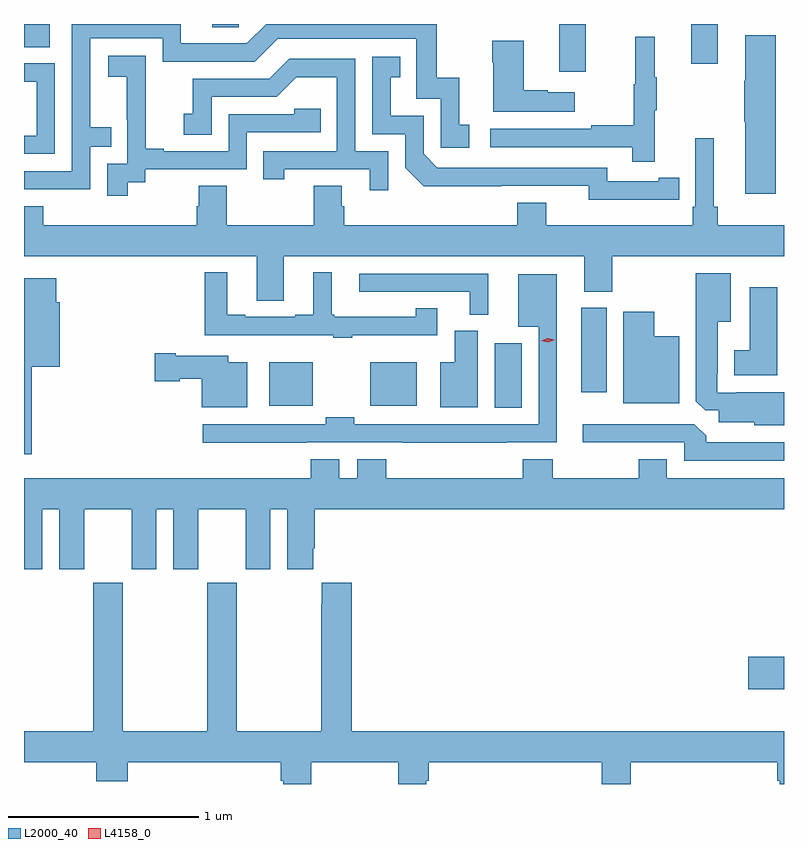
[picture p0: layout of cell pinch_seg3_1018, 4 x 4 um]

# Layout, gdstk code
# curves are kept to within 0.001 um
import gdstk
lib = gdstk.Library(unit=1e-6, precision=1e-09)
def R(c, l, rs):  # rectangles x0, y0, x1, y1
    for r in rs: c.add(gdstk.rectangle(r[:2], r[2:], *l))
def P(c, l, *ps):  # polygons
    for p in ps: c.add(gdstk.Polygon(p, *l))
L2000_40 = (2000, 40)
L4158_0 = (4158, 0)

pinch_seg3_1018 = lib.new_cell('pinch_seg3_1018')
R(pinch_seg3_1018, L2000_40, [(518.112,695.972,518.299,696.143), (516.776,697.453,516.919,697.795), (515.591,697.466,515.818,697.693), (516.122,697.466,516.367,697.693), (517.232,697.536,517.366,697.98), (517.115,699.222,517.255,699.474), (517.811,699.264,517.951,699.474), (514.299,699.352,514.435,699.474), (515.291,699.457,515.43,699.474)])
P(pinch_seg3_1018, L2000_40, [(514.647,698.829),(514.757,698.829),(514.757,698.93),(514.647,698.93),(514.647,699.399),(515.028,699.399),(515.028,699.276),(515.514,699.276),(515.634,699.396),(516.363,699.396),(516.363,699.081),(516.492,699.081),(516.492,698.823),(516.643,698.823),(516.643,698.943),(516.59,698.943),(516.59,699.19),(516.472,699.19),(516.472,699.474),(515.574,699.474),(515.472,699.372),(515.125,699.372),(515.125,699.474),(514.551,699.474),(514.551,698.7),(514.299,698.7),(514.299,698.604),(514.647,698.604)],
  [(518.255,699.415),(518.096,699.415),(518.096,699.176),(518.089,699.176),(518.089,698.959),(518.096,698.959),(518.096,698.58),(518.255,698.58)],
  [(517.619,699.019),(517.63,699.019),(517.63,699.193),(517.619,699.193),(517.619,699.406),(517.516,699.406),(517.516,699.156),(517.509,699.156),(517.509,698.942),(517.285,698.942),(517.285,698.922),(516.753,698.922),(516.753,698.826),(517.501,698.826),(517.501,698.748),(517.619,698.748)],
  [(517.198,699.115),(517.055,699.115),(517.055,699.125),(516.928,699.125),(516.928,699.385),(516.763,699.385),(516.763,699.272),(516.77,699.272),(516.77,699.011),(517.198,699.011)],
  [(514.846,698.641),(514.938,698.641),(514.938,698.709),(515.472,698.709),(515.472,698.904),(515.861,698.904),(515.861,699.027),(515.721,699.027),(515.721,699),(515.376,699),(515.376,698.805),(515.035,698.805),(515.035,698.818),(514.94,698.818),(514.94,699.101),(514.941,699.101),(514.941,699.307),(514.743,699.307),(514.743,699.197),(514.841,699.197),(514.841,698.969),(514.842,698.969),(514.842,698.739),(514.737,698.739),(514.737,698.571),(514.846,698.571)],
  [(517.64,698.55),(517.748,698.55),(517.748,698.666),(517.64,698.666),(517.64,698.646),(517.368,698.646),(517.368,698.718),(516.474,698.718),(516.402,698.79),(516.402,698.991),(516.229,698.991),(516.229,699.195),(516.278,699.195),(516.278,699.301),(516.132,699.301),(516.132,698.895),(516.306,698.895),(516.306,698.718),(516.404,698.621),(517.272,698.622),(517.272,698.549)],
  [(516.216,698.805),(516.042,698.805),(516.042,699.291),(515.696,699.291),(515.591,699.186),(515.188,699.186),(515.188,699.001),(515.139,699.001),(515.139,698.892),(515.286,698.892),(515.286,699.09),(515.628,699.09),(515.732,699.194),(515.946,699.194),(515.946,698.805),(515.557,698.805),(515.557,698.658),(515.668,698.658),(515.668,698.709),(516.119,698.709),(516.119,698.598),(516.216,698.598)],
  [(514.461,699.267),(514.299,699.267),(514.299,699.171),(514.365,699.171),(514.365,698.886),(514.299,698.886),(514.299,698.79),(514.461,698.79)],
  [(515.525,698.017),(515.665,698.017),(515.665,698.252),(517.247,698.252),(517.247,698.065),(517.395,698.065),(517.395,698.252),(518.299,698.252),(518.299,698.416),(517.949,698.416),(517.949,698.512),(517.93,698.512),(517.93,698.872),(517.833,698.872),(517.833,698.512),(517.82,698.512),(517.82,698.416),(517.048,698.416),(517.048,698.533),(516.895,698.533),(516.895,698.416),(515.984,698.416),(515.984,698.514),(515.971,698.514),(515.971,698.624),(515.824,698.624),(515.824,698.416),(515.367,698.416),(515.367,698.624),(515.219,698.624),(515.219,698.514),(515.207,698.514),(515.207,698.416),(514.4,698.416),(514.4,698.515),(514.299,698.515),(514.299,698.252),(515.525,698.252)],
  [(516.026,697.835),(516.475,697.835),(516.475,697.979),(516.362,697.979),(516.362,697.933),(515.932,697.933),(515.932,697.945),(515.92,697.945),(515.92,698.167),(515.822,698.167),(515.822,697.945),(515.726,697.945),(515.726,697.932),(515.464,697.932),(515.464,697.945),(515.368,697.945),(515.368,698.167),(515.251,698.167),(515.251,697.835),(515.926,697.835),(515.926,697.824),(516.026,697.824)],
  [(518.299,697.537),(518.047,697.537),(518.047,697.533),(517.947,697.533),(517.947,697.633),(517.951,697.633),(517.951,697.907),(518.02,697.907),(518.02,698.161),(517.835,698.161),(517.835,697.489),(517.884,697.44),(517.955,697.44),(517.955,697.379),(518.142,697.379),(518.142,697.361),(518.299,697.361)],
  [(516.742,698.16),(516.063,698.16),(516.063,698.064),(516.644,698.064),(516.644,697.945),(516.742,697.945)],
  [(515.786,697.272),(516.289,697.272),(516.289,697.271),(516.839,697.271),(516.839,697.272),(517.104,697.272),(517.104,698.158),(516.899,698.158),(516.899,697.88),(517.008,697.88),(517.008,697.368),(516.036,697.368),(516.036,697.404),(515.886,697.404),(515.886,697.368),(515.241,697.368),(515.241,697.271),(515.786,697.271)],
  [(514.339,697.67),(514.486,697.67),(514.486,698.01),(514.468,698.01),(514.468,698.137),(514.299,698.137),(514.299,697.209),(514.339,697.209)],
  [(518.263,698.089),(518.12,698.089),(518.12,697.756),(518.036,697.756),(518.036,697.625),(518.263,697.625)],
  [(517.747,697.831),(517.615,697.831),(517.615,697.96),(517.454,697.96),(517.454,697.478),(517.747,697.478)],
  [(516.688,697.86),(516.566,697.86),(516.566,697.693),(516.491,697.693),(516.491,697.457),(516.688,697.457)],
  [(515.473,697.693),(515.374,697.693),(515.374,697.729),(515.098,697.729),(515.098,697.742),(514.986,697.742),(514.986,697.595),(515.118,697.595),(515.118,697.607),(515.234,697.607),(515.234,697.457),(515.473,697.457)],
  [(518.299,697.272),(517.889,697.272),(517.889,697.306),(517.827,697.368),(517.239,697.368),(517.239,697.272),(517.773,697.272),(517.773,697.176),(518.299,697.176)],
  [(514.396,696.92),(514.484,696.92),(514.484,696.603),(514.615,696.603),(514.615,696.92),(514.865,696.92),(514.865,696.603),(514.996,696.603),(514.996,696.92),(515.084,696.92),(515.084,696.603),(515.215,696.603),(515.215,696.92),(515.465,696.92),(515.465,696.603),(515.596,696.603),(515.596,696.92),(515.684,696.92),(515.684,696.603),(515.821,696.603),(515.821,696.715),(515.828,696.715),(515.828,696.92),(518.299,696.92),(518.299,697.084),(517.681,697.084),(517.681,697.183),(517.534,697.183),(517.534,697.084),(517.083,697.084),(517.083,697.183),(516.923,697.183),(516.923,697.084),(516.206,697.084),(516.206,697.183),(516.053,697.183),(516.053,697.084),(515.959,697.084),(515.959,697.183),(515.807,697.183),(515.807,697.084),(514.299,697.084),(514.299,696.603),(514.396,696.603)],
  [(515.811,695.588),(516.268,695.588),(516.268,695.474),(516.415,695.474),(516.415,695.49),(516.428,695.49),(516.428,695.588),(517.34,695.588),(517.34,695.474),(517.492,695.474),(517.492,695.588),(518.264,695.588),(518.264,695.492),(518.277,695.492),(518.277,695.474),(518.299,695.474),(518.299,695.752),(516.023,695.752),(516.023,696.532),(515.867,696.532),(515.867,696.419),(515.863,696.419),(515.863,695.752),(515.418,695.752),(515.418,696.532),(515.263,696.532),(515.263,695.752),(514.818,695.752),(514.818,696.532),(514.663,696.532),(514.663,695.752),(514.299,695.752),(514.299,695.588),(514.679,695.588),(514.679,695.489),(514.844,695.489),(514.844,695.588),(515.651,695.588),(515.651,695.49),(515.663,695.49),(515.663,695.474),(515.811,695.474)])
P(pinch_seg3_1018, L4158_0, [(517.057,697.8),(517.021,697.808),(517.02,697.808),(517.021,697.808),(517.056,697.82),(517.092,697.813),(517.092,697.812),(517.092,697.812)])

lib.write_gds('pinch_seg3_1018.gds')
